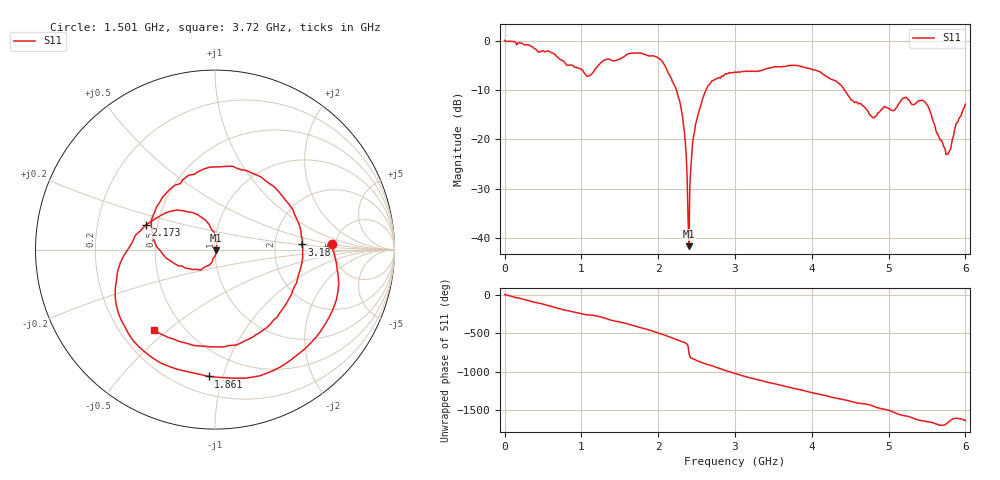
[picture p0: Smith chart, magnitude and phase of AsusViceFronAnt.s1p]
# Hz S RI R 50
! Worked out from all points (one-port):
!   501 points, 1 MHz to 6 GHz, reference 50 ohm
!   lowest |S11| = -41.6 dB at 2.401 GHz (marker M1), VSWR 1.02, Z = 50.7 - j0.504 ohm
!   |S11| at or under -10 dB: 2.237 GHz to 2.624 GHz (387 MHz wide, 15.9 % of centre); 4.427 GHz to end of sweep
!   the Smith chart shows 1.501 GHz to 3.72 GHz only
!   S11 on the Smith chart (normalised r, x): 1.501 GHz: 4.66, +0.53; 1.861 GHz: 0.32, -0.90; 2.173 GHz: 0.43, +0.14; 3.18 GHz: 2.87, +0.21; 3.72 GHz: 0.34, -0.45
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1000000  1.002 -0.00195
3.24946e8  0.1142 -0.8867
5.88902e8  -0.6571 -0.4051
7.56874e8  -0.6071 0.1507
1.26079e9  0.23 0.5576
1.50075e9  0.6497 0.0325
1.632728e9  0.6385 -0.3724
1.86069e9  -0.0352 -0.7064
2.028662e9  -0.5392 -0.3504
2.172638e9  -0.3869 0.1365
2.256624e9  -0.1769 0.2162
2.34061e9  -0.0227 0.118
2.4006e9  0.00661 -0.00498
2.472588e9  -0.0627 -0.1
2.592568e9  -0.2702 -0.0487
2.748542e9  -0.3087 0.2626
3.0005e9  0.257 0.4044
3.18047e9  0.4847 0.0285
3.492418e9  0.1668 -0.5078
3.72038e9  -0.3385 -0.446
3.756374e9  -0.3943 -0.3977
4.128312e9  -0.3663 0.2931
4.50025e9  0.1413 0.2193
4.944176e9  0.145 -0.159
5.256124e9  -0.1953 -0.1579
5.496084e9  -0.2038 0.0968
5.772038e9  -0.0537 0.0459
6e9  -0.2199 0.0536
